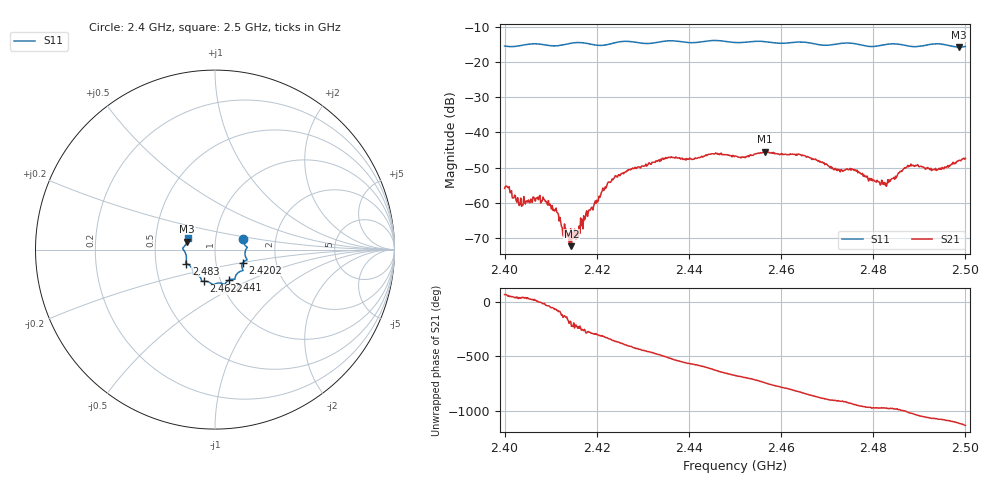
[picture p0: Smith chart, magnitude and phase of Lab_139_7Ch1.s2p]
# Hz S RI R 50
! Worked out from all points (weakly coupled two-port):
!   601 points, 2.4 GHz to 2.5 GHz, reference 50 ohm
!   highest |S21| = -45.53 dB at 2.4565 GHz (marker M1); lowest = -72.3 dB at 2.4145 GHz (marker M2)
!   lowest |S11| = -15.8 dB at 2.4987 GHz (marker M3), VSWR 1.39, Z = 36.4 + j3.32 ohm
!   |S11| at or under -10 dB: start of sweep to end of sweep
!   S12 and S22 are empty: the file has one direction only
!   S11 on the Smith chart (normalised r, x): 2.4 GHz: 1.36, +0.17; 2.4202 GHz: 1.35, -0.20; 2.441 GHz: 1.09, -0.39; 2.4622 GHz: 0.83, -0.30; 2.483 GHz: 0.72, -0.12; 2.5 GHz: 0.73, +0.09
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2.4e9  0.1563 0.0599  0.000517 0.00151  0 0  0 0
2.4035e9  0.1686 0.0224  0.000918 0.000716  0 0  0 0
2.409e9  0.1729 0.00188  0.000923 -0.000496  0 0  0 0
2.411167e9  0.1671 -0.021  0.000343 -0.000766  0 0  0 0
2.412333e9  0.1689 -0.0345  -0.000222 -0.000407  0 0  0 0
2.4145e9  0.1767 -0.0526  -0.000181 0.000161  0 0  0 0
2.415833e9  0.1791 -0.057  -0.000171 0.000277  0 0  0 0
2.416667e9  0.1779 -0.0582  -9.9e-05 0.000461  0 0  0 0
2.420167e9  0.1557 -0.0719  0.00049 0.000893  0 0  0 0
2.424333e9  0.1539 -0.1097  0.00232 -0.000225  0 0  0 0
2.433333e9  0.1128 -0.1525  -0.00211 -0.00338  0 0  0 0
2.441e9  0.0764 -0.1706  -0.00349 0.00225  0 0  0 0
2.45e9  0.0263 -0.1861  0.00325 0.00327  0 0  0 0
2.4565e9  -0.0159 -0.1927  0.00486 -0.00209  0 0  0 0
2.462167e9  -0.0635 -0.1763  0.000457 -0.00484  0 0  0 0
2.466667e9  -0.0763 -0.1667  -0.00309 -0.00268  0 0  0 0
2.483e9  -0.1592 -0.078  -0.000427 0.00179  0 0  0 0
2.483333e9  -0.1608 -0.0773  -0.00033 0.0019  0 0  0 0
2.487667e9  -0.1593 -0.052  0.00143 0.00291  0 0  0 0
2.4935e9  -0.1798 0.00508  0.00306 0.000286  0 0  0 0
2.498667e9  -0.1554 0.0444  0.00319 -0.00243  0 0  0 0
2.5e9  -0.1527 0.0633  0.00239 -0.00354  0 0  0 0
